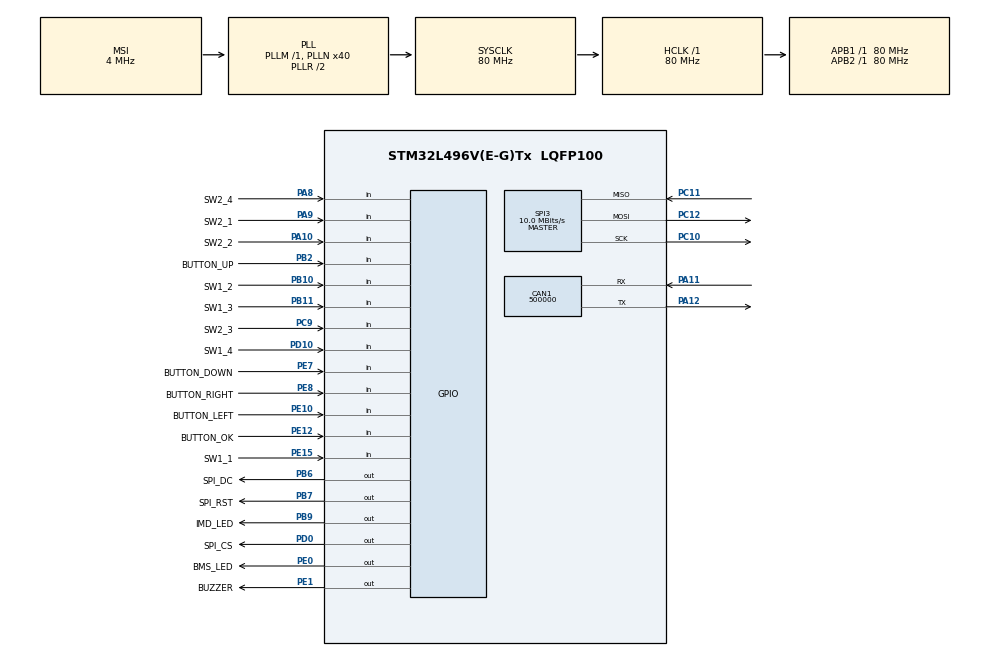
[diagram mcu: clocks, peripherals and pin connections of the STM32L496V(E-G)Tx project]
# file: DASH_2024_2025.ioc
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CAN1.BS1=CAN_BS1_6TQ
CAN1.BS2=CAN_BS2_3TQ
CAN1.CalculateBaudRate=500000
CAN1.CalculateTimeBit=2000
CAN1.CalculateTimeQuantum=200.0
CAN1.NART=ENABLE
Dma.Request0=SPI3_TX
Dma.SPI3_TX.0.Direction=DMA_MEMORY_TO_PERIPH
Dma.SPI3_TX.0.Instance=DMA2_Channel2
Dma.SPI3_TX.0.MemDataAlignment=DMA_MDATAALIGN_BYTE
Dma.SPI3_TX.0.MemInc=DMA_MINC_ENABLE
Dma.SPI3_TX.0.Mode=DMA_NORMAL
Dma.SPI3_TX.0.PeriphDataAlignment=DMA_PDATAALIGN_BYTE
Dma.SPI3_TX.0.PeriphInc=DMA_PINC_DISABLE
Dma.SPI3_TX.0.Priority=DMA_PRIORITY_VERY_HIGH
FREERTOS.BinarySemaphores01=BinSemControl,Dynamic,NULL,Depleted
FREERTOS.Tasks01=CAN,2,128,StartCAN,Default,NULL,Dynamic,NULL,NULL;Buttons,0,128,StartButtons,Default,NULL,Dynamic,NULL,NULL;Display,-1,750,StartDisplay,Default,NULL,Dynamic,NULL,NULL
FREERTOS.configTOTAL_HEAP_SIZE=5000
FREERTOS.configUSE_NEWLIB_REENTRANT=1
Mcu.Family=STM32L4
Mcu.Name=STM32L496V(E-G)Tx
Mcu.Package=LQFP100
NVIC.CAN1_RX0_IRQn=true\:5\:0\:false\:false\:true\:true\:true\:true\:true
NVIC.CAN1_RX1_IRQn=true\:5\:0\:false\:false\:true\:true\:true\:true\:true
NVIC.DMA2_Channel2_IRQn=true\:5\:0\:false\:false\:true\:true\:false\:true\:true
NVIC.PriorityGroup=NVIC_PRIORITYGROUP_4
NVIC.TIM4_IRQn=true\:15\:0\:false\:false\:true\:false\:false\:true\:true
NVIC.TimeBase=TIM4_IRQn
NVIC.TimeBaseIP=TIM4
PA10.GPIO_Label=SW2_2
PA10.Signal=GPIO_Input
PA11.Mode=CAN_Activate
PA11.Signal=CAN1_RX
PA12.Mode=CAN_Activate
PA12.Signal=CAN1_TX
PA8.GPIO_Label=SW2_4
PA8.Signal=GPIO_Input
PA9.GPIO_Label=SW2_1
PA9.Signal=GPIO_Input
PB10.GPIO_Label=SW1_2
PB10.Signal=GPIO_Input
PB11.GPIO_Label=SW1_3
PB11.Signal=GPIO_Input
PB2.GPIO_Label=BUTTON_UP
PB2.GPIO_PuPd=GPIO_PULLUP
PB2.Signal=GPIO_Input
PB6.GPIO_Label=SPI_DC
PB6.Signal=GPIO_Output
PB7.GPIO_Label=SPI_RST
PB7.Signal=GPIO_Output
PB9.GPIO_Label=IMD_LED
PB9.Signal=GPIO_Output
PC10.Mode=Full_Duplex_Master
PC10.Signal=SPI3_SCK
PC11.Mode=Full_Duplex_Master
PC11.Signal=SPI3_MISO
PC12.Mode=Full_Duplex_Master
PC12.Signal=SPI3_MOSI
PC9.GPIO_Label=SW2_3
PC9.Signal=GPIO_Input
PD0.GPIO_Label=SPI_CS
PD0.Signal=GPIO_Output
PD10.GPIO_Label=SW1_4
PD10.Signal=GPIO_Input
PE0.GPIO_Label=BMS_LED
PE0.Signal=GPIO_Output
PE1.GPIO_Label=BUZZER
PE1.Signal=GPIO_Output
PE10.GPIO_Label=BUTTON_LEFT
PE10.GPIO_PuPd=GPIO_PULLUP
PE10.Signal=GPIO_Input
PE12.GPIO_Label=BUTTON_OK
PE12.GPIO_PuPd=GPIO_PULLUP
PE12.Signal=GPIO_Input
PE15.GPIO_Label=SW1_1
PE15.Signal=GPIO_Input
PE7.GPIO_Label=BUTTON_DOWN
PE7.GPIO_PuPd=GPIO_PULLUP
PE7.Signal=GPIO_Input
PE8.GPIO_Label=BUTTON_RIGHT
PE8.GPIO_PuPd=GPIO_PULLUP
PE8.Signal=GPIO_Input
ProjectManager.HeapSize=0x200
ProjectManager.StackSize=0x400
ProjectManager.TargetToolchain=STM32CubeIDE
RCC.ADCFreq_Value=32000000
RCC.AHBFreq_Value=80000000
RCC.APB1Freq_Value=80000000
RCC.APB1TimFreq_Value=80000000
RCC.APB2Freq_Value=80000000
RCC.APB2TimFreq_Value=80000000
RCC.CortexFreq_Value=80000000
RCC.HCLKFreq_Value=80000000
RCC.HSE_VALUE=8000000
RCC.HSI48_VALUE=48000000
RCC.HSI_VALUE=16000000
RCC.LSE_VALUE=32768
RCC.MSI_VALUE=4000000
RCC.PLLN=40
RCC.PLLSAI1N=16
RCC.SYSCLKFreq_VALUE=80000000
RCC.SYSCLKSource=RCC_SYSCLKSOURCE_PLLCLK
RCC.USBFreq_Value=32000000
RCC.VCOOutputFreq_Value=160000000
SPI3.BaudRatePrescaler=SPI_BAUDRATEPRESCALER_8
SPI3.CalculateBaudRate=10.0 MBits/s
SPI3.DataSize=SPI_DATASIZE_8BIT
SPI3.Direction=SPI_DIRECTION_2LINES
SPI3.Mode=SPI_MODE_MASTER
SPI3.VirtualType=VM_MASTER
VP_FREERTOS_VS_CMSIS_V1.Mode=CMSIS_V1
VP_SYS_VS_tim4.Mode=TIM4
board=custom

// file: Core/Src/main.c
/* USER CODE BEGIN Header */
/**
  ******************************************************************************
  * @file           : main.c
  * @brief          : Main program body
  ******************************************************************************
  * @attention
  *
  * Copyright (c) 2025 STMicroelectronics.
  * All rights reserved.
  *
  * This software is licensed under terms that can be found in the LICENSE file
  * in the root directory of this software component.
  * If no LICENSE file comes with this software, it is provided AS-IS.
  *
  ******************************************************************************
  */
/* USER CODE END Header */
#include "main.h"
#include "cmsis_os.h"

/* USER CODE BEGIN Includes */
#include <stm32l4xx_hal_gpio.h>
#include "DASH/etr_carstate.h"
#include "DASH/buttons.h"
#include "CAN/CAN_X_2025.h"
#include "CAN/CAN.h"
#include "ILI9488/lib/mainDash_lib.h"
#include "ILI9488/UI/screen.h"
#include "ILI9488/bitmaps/bitmaps.h"
/* USER CODE END Includes */

CAN_HandleTypeDef hcan1;

SPI_HandleTypeDef hspi3;
DMA_HandleTypeDef hdma_spi3_tx;

osThreadId CANHandle;
osThreadId ButtonsHandle;
osThreadId DisplayHandle;
osSemaphoreId BinSemControlHandle;
/* USER CODE BEGIN PV */

		/* CAN */
uint8_t RxData[8];
CAN_RxHeaderTypeDef RxHeader;

		/* FLAGS*/
uint8_t flag = 0;

/* USER CODE END PV */

void SystemClock_Config(void);
static void MX_GPIO_Init(void);
static void MX_DMA_Init(void);
static void MX_CAN1_Init(void);
static void MX_SPI3_Init(void);
void StartCAN(void const * argument);
void StartButtons(void const * argument);
void StartDisplay(void const * argument);

int main(void)
{

  /* MCU Configuration--------------------------------------------------------*/

  /* Reset of all peripherals, Initializes the Flash interface and the Systick. */
  HAL_Init();

  /* Configure the system clock */
  SystemClock_Config();

  /* Initialize all configured peripherals */
  MX_GPIO_Init();
  MX_DMA_Init();
  MX_CAN1_Init();
  MX_SPI3_Init();
  /* USER CODE BEGIN 2 */
  	  	/*SCREEN INIT*/
  ILI9488_Init();
  		/*START CAN*/
  HAL_CAN_Start(&hcan1);
  HAL_CAN_ActivateNotification(&hcan1, CAN_IT_RX_FIFO0_MSG_PENDING);
  Init_CAN_Filter(&hcan1);

  	  /*RULES INIT*/
  HAL_Delay(100);
  resetAllSignals();
  init_rules();

  /* USER CODE END 2 */

  /* Create the semaphores(s) */
  /* definition and creation of BinSemControl */
  osSemaphoreDef(BinSemControl);
  BinSemControlHandle = osSemaphoreCreate(osSemaphore(BinSemControl), 1);

  /* Create the thread(s) */
  /* definition and creation of CAN */
  osThreadDef(CAN, StartCAN, osPriorityHigh, 0, 128);
  CANHandle = osThreadCreate(osThread(CAN), NULL);

  /* definition and creation of Buttons */
  osThreadDef(Buttons, StartButtons, osPriorityNormal, 0, 128);
  ButtonsHandle = osThreadCreate(osThread(Buttons), NULL);

  /* definition and creation of Display */
  osThreadDef(Display, StartDisplay, osPriorityBelowNormal, 0, 750);
  DisplayHandle = osThreadCreate(osThread(Display), NULL);

  /* Start scheduler */
  osKernelStart();

  /* We should never get here as control is now taken by the scheduler */

  /* Infinite loop */
  while (1)
  {

  }
}

void SystemClock_Config(void)
{
  RCC_OscInitTypeDef RCC_OscInitStruct = {0};
  RCC_ClkInitTypeDef RCC_ClkInitStruct = {0};

  /** Configure the main internal regulator output voltage
  */
  if (HAL_PWREx_ControlVoltageScaling(PWR_REGULATOR_VOLTAGE_SCALE1) != HAL_OK)
  {
    Error_Handler();
  }

  /** Initializes the RCC Oscillators according to the specified parameters
  * in the RCC_OscInitTypeDef structure.
  */
  RCC_OscInitStruct.OscillatorType = RCC_OSCILLATORTYPE_MSI;
  RCC_OscInitStruct.MSIState = RCC_MSI_ON;
  RCC_OscInitStruct.MSICalibrationValue = 0;
  RCC_OscInitStruct.MSIClockRange = RCC_MSIRANGE_6;
  RCC_OscInitStruct.PLL.PLLState = RCC_PLL_ON;
  RCC_OscInitStruct.PLL.PLLSource = RCC_PLLSOURCE_MSI;
  RCC_OscInitStruct.PLL.PLLM = 1;
  RCC_OscInitStruct.PLL.PLLN = 40;
  RCC_OscInitStruct.PLL.PLLP = RCC_PLLP_DIV2;
  RCC_OscInitStruct.PLL.PLLQ = RCC_PLLQ_DIV2;
  RCC_OscInitStruct.PLL.PLLR = RCC_PLLR_DIV2;
  if (HAL_RCC_OscConfig(&RCC_OscInitStruct) != HAL_OK)
  {
    Error_Handler();
  }

  /** Initializes the CPU, AHB and APB buses clocks
  */
  RCC_ClkInitStruct.ClockType = RCC_CLOCKTYPE_HCLK|RCC_CLOCKTYPE_SYSCLK
                              |RCC_CLOCKTYPE_PCLK1|RCC_CLOCKTYPE_PCLK2;
  RCC_ClkInitStruct.SYSCLKSource = RCC_SYSCLKSOURCE_PLLCLK;
  RCC_ClkInitStruct.AHBCLKDivider = RCC_SYSCLK_DIV1;
  RCC_ClkInitStruct.APB1CLKDivider = RCC_HCLK_DIV1;
  RCC_ClkInitStruct.APB2CLKDivider = RCC_HCLK_DIV1;

  if (HAL_RCC_ClockConfig(&RCC_ClkInitStruct, FLASH_LATENCY_4) != HAL_OK)
  {
    Error_Handler();
  }
}

static void MX_CAN1_Init(void)
{

  hcan1.Instance = CAN1;
  hcan1.Init.Prescaler = 16;
  hcan1.Init.Mode = CAN_MODE_NORMAL;
  hcan1.Init.SyncJumpWidth = CAN_SJW_1TQ;
  hcan1.Init.TimeSeg1 = CAN_BS1_6TQ;
  hcan1.Init.TimeSeg2 = CAN_BS2_3TQ;
  hcan1.Init.TimeTriggeredMode = DISABLE;
  hcan1.Init.AutoBusOff = DISABLE;
  hcan1.Init.AutoWakeUp = DISABLE;
  hcan1.Init.AutoRetransmission = ENABLE;
  hcan1.Init.ReceiveFifoLocked = DISABLE;
  hcan1.Init.TransmitFifoPriority = DISABLE;
  if (HAL_CAN_Init(&hcan1) != HAL_OK)
  {
    Error_Handler();
  }

}

static void MX_SPI3_Init(void)
{

  /* SPI3 parameter configuration*/
  hspi3.Instance = SPI3;
  hspi3.Init.Mode = SPI_MODE_MASTER;
  hspi3.Init.Direction = SPI_DIRECTION_2LINES;
  hspi3.Init.DataSize = SPI_DATASIZE_8BIT;
  hspi3.Init.CLKPolarity = SPI_POLARITY_LOW;
  hspi3.Init.CLKPhase = SPI_PHASE_1EDGE;
  hspi3.Init.NSS = SPI_NSS_SOFT;
  hspi3.Init.BaudRatePrescaler = SPI_BAUDRATEPRESCALER_8;
  hspi3.Init.FirstBit = SPI_FIRSTBIT_MSB;
  hspi3.Init.TIMode = SPI_TIMODE_DISABLE;
  hspi3.Init.CRCCalculation = SPI_CRCCALCULATION_DISABLE;
  hspi3.Init.CRCPolynomial = 7;
  hspi3.Init.CRCLength = SPI_CRC_LENGTH_DATASIZE;
  hspi3.Init.NSSPMode = SPI_NSS_PULSE_ENABLE;
  if (HAL_SPI_Init(&hspi3) != HAL_OK)
  {
    Error_Handler();
  }

}

static void MX_DMA_Init(void)
{

  /* DMA controller clock enable */
  __HAL_RCC_DMA2_CLK_ENABLE();

  /* DMA interrupt init */
  /* DMA2_Channel2_IRQn interrupt configuration */
  HAL_NVIC_SetPriority(DMA2_Channel2_IRQn, 5, 0);
  HAL_NVIC_EnableIRQ(DMA2_Channel2_IRQn);

}

static void MX_GPIO_Init(void)
{
  GPIO_InitTypeDef GPIO_InitStruct = {0};

  /* GPIO Ports Clock Enable */
  __HAL_RCC_GPIOB_CLK_ENABLE();
  __HAL_RCC_GPIOE_CLK_ENABLE();
  __HAL_RCC_GPIOD_CLK_ENABLE();
  __HAL_RCC_GPIOC_CLK_ENABLE();
  __HAL_RCC_GPIOA_CLK_ENABLE();

  /*Configure GPIO pin Output Level */
  HAL_GPIO_WritePin(SPI_CS_GPIO_Port, SPI_CS_Pin, GPIO_PIN_RESET);

  /*Configure GPIO pin Output Level */
  HAL_GPIO_WritePin(GPIOB, SPI_DC_Pin|SPI_RST_Pin|IMD_LED_Pin, GPIO_PIN_RESET);

  /*Configure GPIO pin Output Level */
  HAL_GPIO_WritePin(GPIOE, BMS_LED_Pin|BUZZER_Pin, GPIO_PIN_RESET);

  /*Configure GPIO pin : BUTTON_UP_Pin */
  GPIO_InitStruct.Pin = BUTTON_UP_Pin;
  GPIO_InitStruct.Mode = GPIO_MODE_INPUT;
  GPIO_InitStruct.Pull = GPIO_PULLUP;
  HAL_GPIO_Init(BUTTON_UP_GPIO_Port, &GPIO_InitStruct);

  /*Configure GPIO pins : BUTTON_DOWN_Pin BUTTON_RIGHT_Pin BUTTON_LEFT_Pin BUTTON_OK_Pin */
  GPIO_InitStruct.Pin = BUTTON_DOWN_Pin|BUTTON_RIGHT_Pin|BUTTON_LEFT_Pin|BUTTON_OK_Pin;
  GPIO_InitStruct.Mode = GPIO_MODE_INPUT;
  GPIO_InitStruct.Pull = GPIO_PULLUP;
  HAL_GPIO_Init(GPIOE, &GPIO_InitStruct);

  /*Configure GPIO pin : SW1_1_Pin */
  GPIO_InitStruct.Pin = SW1_1_Pin;
  GPIO_InitStruct.Mode = GPIO_MODE_INPUT;
  GPIO_InitStruct.Pull = GPIO_NOPULL;
  HAL_GPIO_Init(SW1_1_GPIO_Port, &GPIO_InitStruct);

  /*Configure GPIO pins : SW1_2_Pin SW1_3_Pin */
  GPIO_InitStruct.Pin = SW1_2_Pin|SW1_3_Pin;
  GPIO_InitStruct.Mode = GPIO_MODE_INPUT;
  GPIO_InitStruct.Pull = GPIO_NOPULL;
  HAL_GPIO_Init(GPIOB, &GPIO_InitStruct);

  /*Configure GPIO pin : SW1_4_Pin */
  GPIO_InitStruct.Pin = SW1_4_Pin;
  GPIO_InitStruct.Mode = GPIO_MODE_INPUT;
  GPIO_InitStruct.Pull = GPIO_NOPULL;
  HAL_GPIO_Init(SW1_4_GPIO_Port, &GPIO_InitStruct);

  /*Configure GPIO pin : SW2_3_Pin */
  GPIO_InitStruct.Pin = SW2_3_Pin;
  GPIO_InitStruct.Mode = GPIO_MODE_INPUT;
  GPIO_InitStruct.Pull = GPIO_NOPULL;
  HAL_GPIO_Init(SW2_3_GPIO_Port, &GPIO_InitStruct);

  /*Configure GPIO pins : SW2_4_Pin SW2_1_Pin SW2_2_Pin */
  GPIO_InitStruct.Pin = SW2_4_Pin|SW2_1_Pin|SW2_2_Pin;
  GPIO_InitStruct.Mode = GPIO_MODE_INPUT;
  GPIO_InitStruct.Pull = GPIO_NOPULL;
  HAL_GPIO_Init(GPIOA, &GPIO_InitStruct);

  /*Configure GPIO pin : SPI_CS_Pin */
  GPIO_InitStruct.Pin = SPI_CS_Pin;
  GPIO_InitStruct.Mode = GPIO_MODE_OUTPUT_PP;
  GPIO_InitStruct.Pull = GPIO_NOPULL;
  GPIO_InitStruct.Speed = GPIO_SPEED_FREQ_LOW;
  HAL_GPIO_Init(SPI_CS_GPIO_Port, &GPIO_InitStruct);

  /*Configure GPIO pins : SPI_DC_Pin SPI_RST_Pin IMD_LED_Pin */
  GPIO_InitStruct.Pin = SPI_DC_Pin|SPI_RST_Pin|IMD_LED_Pin;
  GPIO_InitStruct.Mode = GPIO_MODE_OUTPUT_PP;
  GPIO_InitStruct.Pull = GPIO_NOPULL;
  GPIO_InitStruct.Speed = GPIO_SPEED_FREQ_LOW;
  HAL_GPIO_Init(GPIOB, &GPIO_InitStruct);

  /*Configure GPIO pins : BMS_LED_Pin BUZZER_Pin */
  GPIO_InitStruct.Pin = BMS_LED_Pin|BUZZER_Pin;
  GPIO_InitStruct.Mode = GPIO_MODE_OUTPUT_PP;
  GPIO_InitStruct.Pull = GPIO_NOPULL;
  GPIO_InitStruct.Speed = GPIO_SPEED_FREQ_LOW;
  HAL_GPIO_Init(GPIOE, &GPIO_InitStruct);

}

/* USER CODE BEGIN 4 */
void HAL_CAN_RxFifo0MsgPendingCallback(CAN_HandleTypeDef *hcan1)
  {
	HAL_CAN_GetRxMessage(hcan1, CAN_RX_FIFO0, &RxHeader, RxData);

			if(RxHeader.StdId == CTRL_BMS_Cell_Extremes_id){
				message_canrx_CTRL_BMS_Cell_Extremes(RxData);
			}
			else if (RxHeader.StdId == STAT_ETAS_Diagnostics_id){
				message_canrx_STAT_ETAS_Diagnostics(RxData);
				ETAS_Tick = HAL_GetTick();
			}
			else if (RxHeader.StdId == STAT_ETAS_Sync_id){
				message_canrx_STAT_ETAS_Sync(RxData);
			}
			else if (RxHeader.StdId == CTRL_ETAS_System_id){
				message_canrx_CTRL_ETAS_System(RxData);
				Screen.ActualState = Car_State;
			}
			else if (RxHeader.StdId == PROC_ETAS_TS_Data_id){
				message_canrx_PROC_ETAS_TS_Data(RxData);
			}
			else if (RxHeader.StdId == PROC_ETAS_VDC_LapTiming_id){
				message_canrx_PROC_ETAS_VDC_LapTiming(RxData);
			}
			else if (RxHeader.StdId == PROC_ETAS_VDC_Tq_id){
				message_canrx_PROC_ETAS_VDC_Tq(RxData);
			}
			else if (RxHeader.StdId == PROC_ETAS_VDC_Values_id){
				message_canrx_PROC_ETAS_VDC_Values(RxData);
			}
			else if (RxHeader.StdId == PROC_ETAS_VDC_Params_id){
				message_canrx_PROC_ETAS_VDC_Params(RxData);
			}
			else if (RxHeader.StdId == STAT_BMS_Keep_Alive_id) {
				message_canrx_STAT_BMS_Keep_Alive(RxData);
			}
			else if (RxHeader.StdId == CTRL_BMS_Accu_Data_id){
				message_canrx_CTRL_BMS_Accu_Data(RxData);
			}
			else if (RxHeader.StdId == STAT_FECU_Keep_Alive_id){
				message_canrx_STAT_FECU_Keep_Alive(RxData);
			}
			else if (RxHeader.StdId == STAT_RECU_Keep_Alive_id){
				message_canrx_STAT_RECU_Keep_Alive(RxData);
			}
			refreshGPIOs();
  }
/* USER CODE END 4 */

void StartCAN(void const * argument)
{
  /* USER CODE BEGIN 5 */
  /* Infinite loop */
  for(;;)
  {
	  message_cantx_STAT_DASH_Keep_Alive(hcan1);
	  Dash_Alive++;

//	  if (PrechargeRequest == 1 && Screen.ActualState  == DASH_1_PRECHARGE) {
//		  message_cantx_CTRL_DASH_Driver_Inputs(hcan1);
//		  PrechargeRequest = 0;
//		  HAL_Delay(100);
//		  message_cantx_CTRL_DASH_Driver_Inputs(hcan1);
//	  }
//	  else if (RacingMode_Send == 1 && Screen.ActualState  == DASH_4_RACING_MENU) {
//		  message_cantx_CTRL_DASH_Driver_Inputs(hcan1);
//		  RacingMode_Send = 0;
//	  }
//	  else if (EnableDrive_Order == 1 && Screen.ActualState  == DASH_4_RACING_MENU) {
//		  message_cantx_CTRL_DASH_Driver_Inputs(hcan1);
//		  EnableDrive_Order = 0;
//		  HAL_Delay(100);
//		  message_cantx_CTRL_DASH_Driver_Inputs(hcan1);
//	  }
//	  else if (pendingButtonEvent == EVENT_ROTARY_1 || pendingButtonEvent == EVENT_ROTARY_2){
//		  message_cantx_CTRL_DASH_Driver_Inputs(hcan1);
//	  }
	  message_cantx_CTRL_DASH_Driver_Inputs(hcan1);

	  vTaskDelay(50);
  }
  /* USER CODE END 5 */
}

void StartButtons(void const * argument)
{
  /* USER CODE BEGIN StartButtons */
  /* Infinite loop */
  for(;;)
  {

	  currentButtonState_Up = HAL_GPIO_ReadPin(BUTTON_UP_GPIO_Port, BUTTON_UP_Pin);
	  currentButtonState_Down = HAL_GPIO_ReadPin(BUTTON_DOWN_GPIO_Port, BUTTON_DOWN_Pin);
	  currentButtonState_Right = HAL_GPIO_ReadPin(BUTTON_RIGHT_GPIO_Port, BUTTON_RIGHT_Pin);
	  currentButtonState_Left = HAL_GPIO_ReadPin(BUTTON_LEFT_GPIO_Port, BUTTON_LEFT_Pin);
	  currentButtonState_OK = HAL_GPIO_ReadPin(BUTTON_OK_GPIO_Port, BUTTON_OK_Pin);
	  currentRotaryState_1 = readRotarySwitch1();
	  currentRotaryState_2 = readRotarySwitch2();

	  refreshButton();
	  refreshScreen();

    osDelay(5);
  }
  /* USER CODE END StartButtons */
}

void StartDisplay(void const * argument)
{
  /* USER CODE BEGIN StartDisplay */
  /* Infinite loop */
  for(;;)
  {
	drawScreen();
	ETAS_disconnection_funct();
    osDelay(100);
  }
  /* USER CODE END StartDisplay */
}

void HAL_TIM_PeriodElapsedCallback(TIM_HandleTypeDef *htim)
{
  if (htim->Instance == TIM4)
  {
    HAL_IncTick();
  }
}

void Error_Handler(void)
{
  __disable_irq();
  while (1)
  {
  }
}
